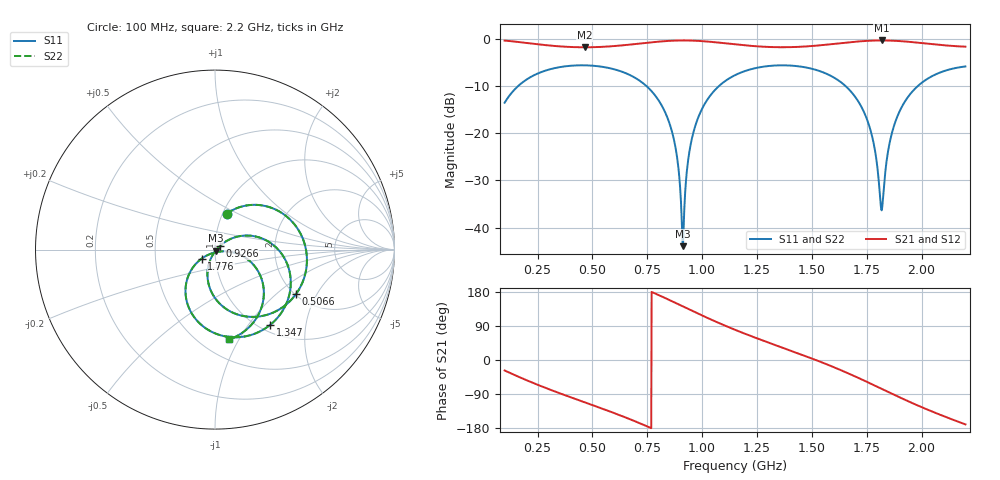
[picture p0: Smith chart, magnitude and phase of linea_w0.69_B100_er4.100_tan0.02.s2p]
! Chirptenna · simulación 3D de una microstrip de dos puertos (S12 = S21, S22 = S11 por simetría)
# HZ S RI R 50
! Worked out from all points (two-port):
!   1101 points, 100 MHz to 2.2 GHz, reference 50 ohm
!   highest |S21| = -0.41 dB at 1.818 GHz (marker M1); lowest = -1.9 dB at 464.6 MHz (marker M2)
!   |S21| within 3 dB of the highest: start of sweep to end of sweep
!   lowest |S11| = -43.9 dB at 911.4 MHz (marker M3), VSWR 1.01, Z = 50.4 - j0.514 ohm
!   |S11| at or under -10 dB: start of sweep to 162.8 MHz; 745.2 MHz to 1.078 GHz (332.9 MHz wide, 36.5 % of centre); 1.653 GHz to 1.984 GHz (331.6 MHz wide, 18.2 % of centre)
!   |S22| runs from -43.9 to -5.7 dB; largest |S21 - S12| = 0
!   S11 on the Smith chart (normalised r, x): 100 MHz: 1.05, +0.44; 506.6 MHz: 2.03, -1.37; 926.6 MHz: 1.05, +0.04; 1.347 GHz: 1.11, -1.28; 1.776 GHz: 0.86, -0.09; 2.2 GHz: 0.67, -0.91
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1e8  0.0646 0.1994  0.8425 -0.441  0.8425 -0.441  0.0646 0.1994
2.565455e8  0.3858 0.1948  0.3416 -0.7959  0.3416 -0.7959  0.3858 0.1948
4.512727e8  0.4983 -0.1524  -0.2604 -0.7646  -0.2604 -0.7646  0.4983 -0.1524
4.646364e8  0.4898 -0.1768  -0.297 -0.7509  -0.297 -0.7509  0.4898 -0.1768
5.066364e8  0.4512 -0.2478  -0.4089 -0.6991  -0.4089 -0.6991  0.4512 -0.2478
6.593636e8  0.1966 -0.3747  -0.7669 -0.382  -0.7669 -0.382  0.1966 -0.3747
8.006364e8  -0.0257 -0.2229  -0.9166 0.1331  -0.9166 0.1331  -0.0257 -0.2229
8.731818e8  -0.0327 -0.0755  -0.8403 0.4419  -0.8403 0.4419  -0.0327 -0.0755
9.113636e8  0.00387 -0.0051  -0.7489 0.5899  -0.7489 0.5899  0.00387 -0.0051
9.266364e8  0.0254 0.0185  -0.7035 0.6431  -0.7035 0.6431  0.0254 0.0185
9.495455e8  0.0635 0.0474  -0.6272 0.7146  -0.6272 0.7146  0.0635 0.0474
9.915455e8  0.1457 0.0763  -0.4683 0.816  -0.4683 0.816  0.1457 0.0763
1.15e9  0.4021 -0.0793  0.1541 0.8537  0.1541 0.8537  0.4021 -0.0793
1.346636e9  0.3068 -0.4199  0.649 0.4832  0.649 0.4832  0.3068 -0.4199
1.501273e9  0.031 -0.4773  0.8313 0.0546  0.8313 0.0546  0.031 -0.4773
1.678818e9  -0.1642 -0.2199  0.717 -0.57  0.717 -0.57  -0.1642 -0.2199
1.776182e9  -0.0744 -0.0504  0.4091 -0.8571  0.4091 -0.8571  -0.0744 -0.0504
1.818182e9  0.00363 -0.0149  0.23 -0.9254  0.23 -0.9254  0.00363 -0.0149
1.850636e9  0.0698 -0.0104  0.0832 -0.9475  0.0832 -0.9475  0.0698 -0.0104
1.894545e9  0.155 -0.0366  -0.1137 -0.9342  -0.1137 -0.9342  0.155 -0.0366
1.965182e9  0.2501 -0.1397  -0.3931 -0.8234  -0.3931 -0.8234  0.2501 -0.1397
2.2e9  0.077 -0.5007  -0.8073 -0.1437  -0.8073 -0.1437  0.077 -0.5007
